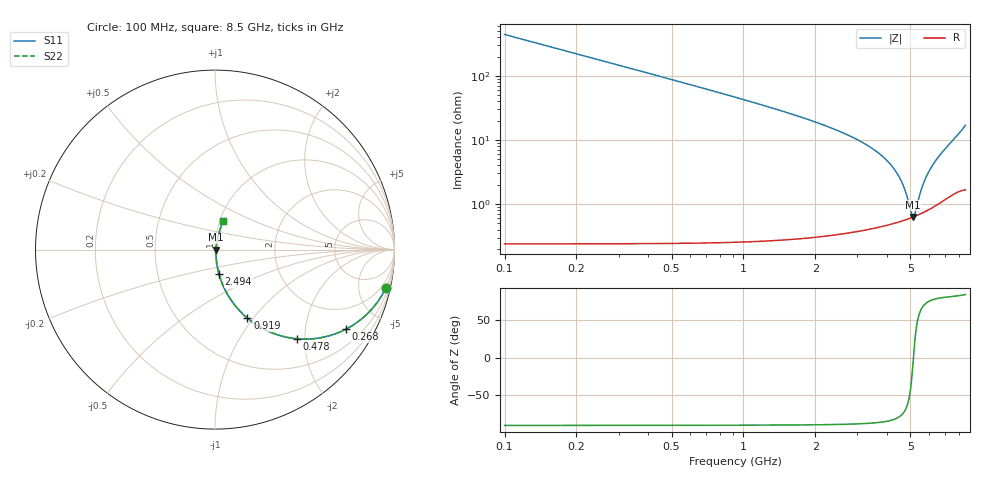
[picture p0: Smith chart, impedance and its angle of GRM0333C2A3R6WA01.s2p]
!Murata Part Number: GRM0333C2A3R6WA01
!These Parameters are Measured in Series Mode Connection
!Data Generated on Mar 30, 2021
!  o--ll--o
!Port1  Port2
!  o------o
!Operation Temp=25[degC], DC Bias Voltage=0[V]
!Freq. Start=100[MHz] Stop=9[GHz] 401[Steps]
# Hz S RI R 50
!Freq.(Hz) S11(Real) S11(Imag) S21(Real) S21(Imag) S12(Real) S12(Imag) S22(Real) S22(Imag)
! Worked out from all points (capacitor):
!   401 points, 100 MHz to 8.5 GHz, reference 50 ohm
!   read as one part in series: C = 3.6 pF near 142 MHz
!   lowest |Z| = 630 mohm at 5.14 GHz (marker M1)
!   series resonance near 5.149 GHz, so ESL is about 270 pH
!   S11 on the Smith chart (normalised r, x): 100 MHz: 1.00, -8.84; 268 MHz: 1.00, -3.29; 478 MHz: 1.00, -1.84; 919 MHz: 1.01, -0.93; 2.494 GHz: 1.01, -0.28; 8.5 GHz: 1.03, +0.34
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1e8  0.9512 -0.2152  0.0488 0.2152  0.0488 0.2152  0.9512 -0.2152
2.05e8  0.8223 -0.3817  0.1777 0.3817  0.1777 0.3817  0.8223 -0.3817
2.68e8  0.73 -0.4432  0.27 0.4432  0.27 0.4432  0.73 -0.4432
3.73e8  0.5817 -0.4923  0.4183 0.4923  0.4183 0.4923  0.5817 -0.4923
4.78e8  0.4573 -0.4968  0.5427 0.4968  0.5427 0.4968  0.4573 -0.4968
6.67e8  0.2995 -0.4561  0.7005 0.4561  0.7005 0.4561  0.2995 -0.4561
9.19e8  0.1805 -0.3819  0.8195 0.3819  0.8195 0.3819  0.1805 -0.3819
1.507e9  0.0704 -0.2508  0.9296 0.2508  0.9296 0.2508  0.0704 -0.2508
2.494e9  0.0221 -0.1355  0.9779 0.1355  0.9779 0.1355  0.0221 -0.1355
2.914e9  0.0148 -0.1048  0.9852 0.1048  0.9852 0.1048  0.0148 -0.1048
3.733e9  0.00788 -0.059  0.9921 0.059  0.9921 0.059  0.00788 -0.059
4.3e9  0.00613 -0.0335  0.9939 0.0335  0.9939 0.0335  0.00613 -0.0335
4.678e9  0.00584 -0.0181  0.9942 0.0181  0.9942 0.0181  0.00584 -0.0181
4.846e9  0.00589 -0.0115  0.9941 0.0115  0.9941 0.0115  0.00589 -0.0115
5.056e9  0.00612 -0.00352  0.9939 0.00352  0.9939 0.00352  0.00612 -0.00352
5.14e9  0.00625 -0.000351  0.9937 0.000351  0.9937 0.000351  0.00625 -0.000351
5.224e9  0.00641 0.00279  0.9936 -0.00279  0.9936 -0.00279  0.00641 0.00279
5.476e9  0.00706 0.0121  0.9929 -0.0121  0.9929 -0.0121  0.00706 0.0121
5.707e9  0.00786 0.0206  0.9921 -0.0206  0.9921 -0.0206  0.00786 0.0206
6.274e9  0.0107 0.0417  0.9893 -0.0417  0.9893 -0.0417  0.0107 0.0417
7.114e9  0.0178 0.075  0.9822 -0.075  0.9822 -0.075  0.0178 0.075
8.5e9  0.0428 0.1591  0.9571 -0.1591  0.9571 -0.1591  0.0428 0.1591
